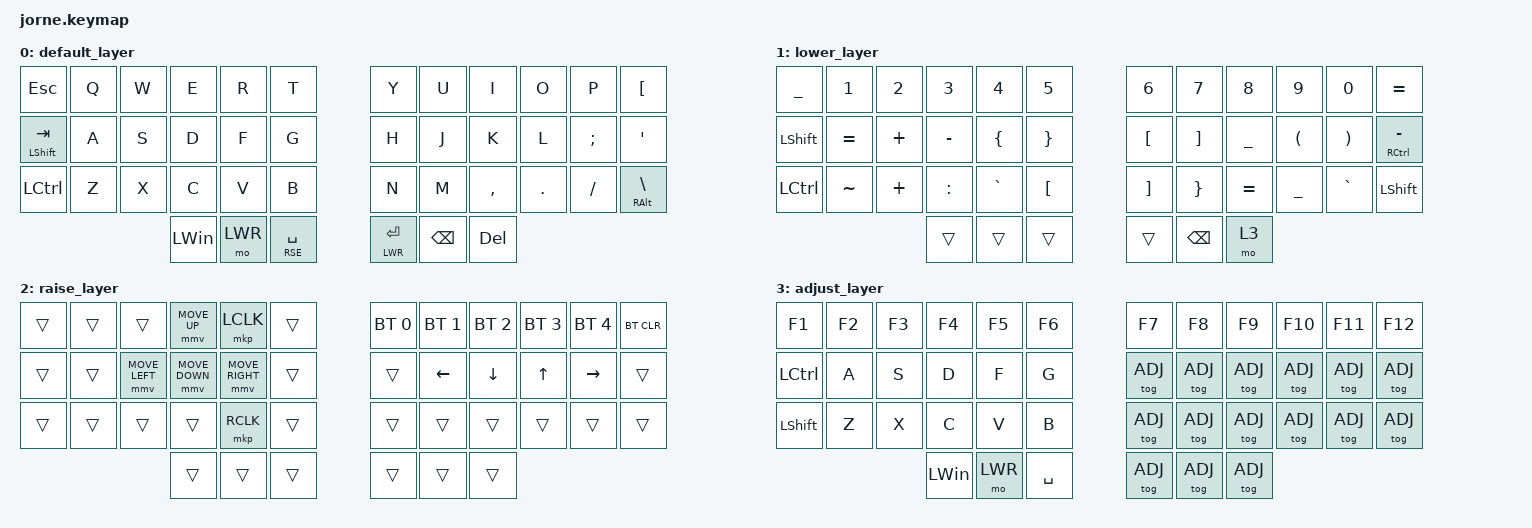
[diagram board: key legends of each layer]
/*
 * Copyright (c) 2020 The ZMK Contributors
 *
 * SPDX-License-Identifier: MIT
 */

#include <dt-bindings/zmk/mouse.h>
#include <behaviors.dtsi>
#include <dt-bindings/zmk/bt.h>
#include <dt-bindings/zmk/keys.h>

#define DEF 0
#define LWR 1
#define RSE 2
#define ADJ 3

/ {
    keymap {
        compatible = "zmk,keymap";

        default_layer {
            // -----------------------------------------------------------------------------------------
            // |  RSE |   ~       |  Q  |  W  |  E  |  R  |  T  |   |  Y  |  U   |  I  |  O  |  P  |  [   |     |
            //        | SHFT/Tab  |  A  |  S  |  D  |  F  |  G  |   |  H  |  J   |  K  |  L  |  ;  |  '   |
            //        | CTRL      |  Z  |  X  |  C  |  V  |  B  |   |  N  |  M   |  ,  |  .  |  /  | RALT |
            //                           | GUI | LWR | SPC |   | RET | BKSP | RSE |

            bindings = <
             &kp ESC         &kp Q  &kp W  &kp E     &kp R    &kp T            &kp Y        &kp U     &kp I      &kp O    &kp P     &kp LBKT           
             &mt LSHIFT TAB  &kp A  &kp S  &kp D     &kp F    &kp G            &kp H        &kp J     &kp K      &kp L    &kp SEMI  &kp SQT
             &kp LCTRL       &kp Z  &kp X  &kp C     &kp V    &kp B            &kp N        &kp M     &kp COMMA  &kp DOT  &kp FSLH  &mt RALT BACKSLASH
                                           &kp LWIN  &mo LWR  &lt RSE SPACE    &lt LWR RET  &kp BSPC  &kp DEL
            >;
        };

        lower_layer {
            // -----------------------------------------------------------------------------------------
            // |     |  _  |  1  |  2  |  3  |  4  |  5  |   |  6  |  7  |  8  |  9  |  0  | = |     |
            //       |  +  |  !  |  @  |  #  |  $  |  %  |   |  ^  |  &  |  *  |  (  |  )  |  -  |
            //       | SHFT | ~  |  +  |  -  |  {  |  [  |   |  ]  |  }  |  =  |  _  |  `  |SHFT |
            //                    |    |     |    |   |    |     |    |

            bindings = <
        &kp UNDER         &kp N1     &kp N2    &kp N3     &kp N4          &kp N5              &kp N6             &kp N7             &kp N8     &kp N9          &kp N0     &kp EQUAL        
        &kp LEFT_SHIFT    &kp EQUAL  &kp PLUS  &kp MINUS  &kp LEFT_BRACE  &kp RIGHT_BRACE     &kp LEFT_BRACKET   &kp RIGHT_BRACKET  &kp UNDER  &kp LPAR        &kp RPAR   &mt RCTRL MINUS
        &kp LEFT_CONTROL  &kp TILDE  &kp PLUS  &kp COLON  &kp GRAVE       &kp LEFT_BRACKET    &kp RIGHT_BRACKET  &kp RIGHT_BRACE    &kp EQUAL  &kp UNDERSCORE  &kp GRAVE  &kp LSHFT
                                               &trans     &trans          &trans              &trans             &kp BACKSPACE      &mo 3
            >;
        };

        raise_layer {
            // -----------------------------------------------------------------------------------------
            // |     |        |     |         |  M_UP   |            |        |      |     |       |     |     |     |     |     |
            //       |        |     | M_LEFT  |  M_DOWN |  M_RIGHT   |        |  LEFT| DOWN|  UP   |RIGHT|     |     |     |
            //       |        |     |         |         |  M_RCLICK  |        |      |     |       |     |     |     |     |
            //                                |     | M_LCLICK | |      |     |        |     |

            bindings = <
        &trans  &trans  &trans          &mmv MOVE_UP    &mkp LCLK        &trans    &bt BT_SEL 0  &bt BT_SEL 1  &bt BT_SEL 2  &bt BT_SEL 3  &bt BT_SEL 4  &bt BT_CLR 
        &trans  &trans  &mmv MOVE_LEFT  &mmv MOVE_DOWN  &mmv MOVE_RIGHT  &trans    &trans        &kp LEFT      &kp DOWN      &kp UP        &kp RIGHT     &trans
        &trans  &trans  &trans          &trans          &mkp RCLK        &trans    &trans        &trans        &trans        &trans        &trans        &trans
                                        &trans          &trans           &trans    &trans        &trans        &trans
            >;
        };

        adjust_layer {
            // -----------------------------------------------------------------------------------------
            // |  RSE |   ~       |  Q  |  W  |  E  |  R  |  T  |   |  Y  |  U   |  I  |  O  |  P  |  [   |     |
            //        | CTRL/Tab  |  A  |  S  |  D  |  F  |  G  |   |  H  |  J   |  K  |  L  |  ;  |  '   |
            //        | SHFT      |  Z  |  X  |  C  |  V  |  B  |   |  N  |  M   |  ,  |  .  |  /  | RALT |
            //                           | GUI | LWR | RET |   | SPC | BKSP | RSE |

            bindings = <
        &kp F1     &kp F2  &kp F3  &kp F4    &kp F5   &kp F6       &kp F7    &kp F8    &kp F9    &kp F10   &kp F11   &kp F12  
        &kp LCTRL  &kp A   &kp S   &kp D     &kp F    &kp G        &tog ADJ  &tog ADJ  &tog ADJ  &tog ADJ  &tog ADJ  &tog ADJ
        &kp LSHFT  &kp Z   &kp X   &kp C     &kp V    &kp B        &tog ADJ  &tog ADJ  &tog ADJ  &tog ADJ  &tog ADJ  &tog ADJ
                                   &kp LWIN  &mo LWR  &kp SPACE    &tog ADJ  &tog ADJ  &tog ADJ
            >;
        };
    };
};
